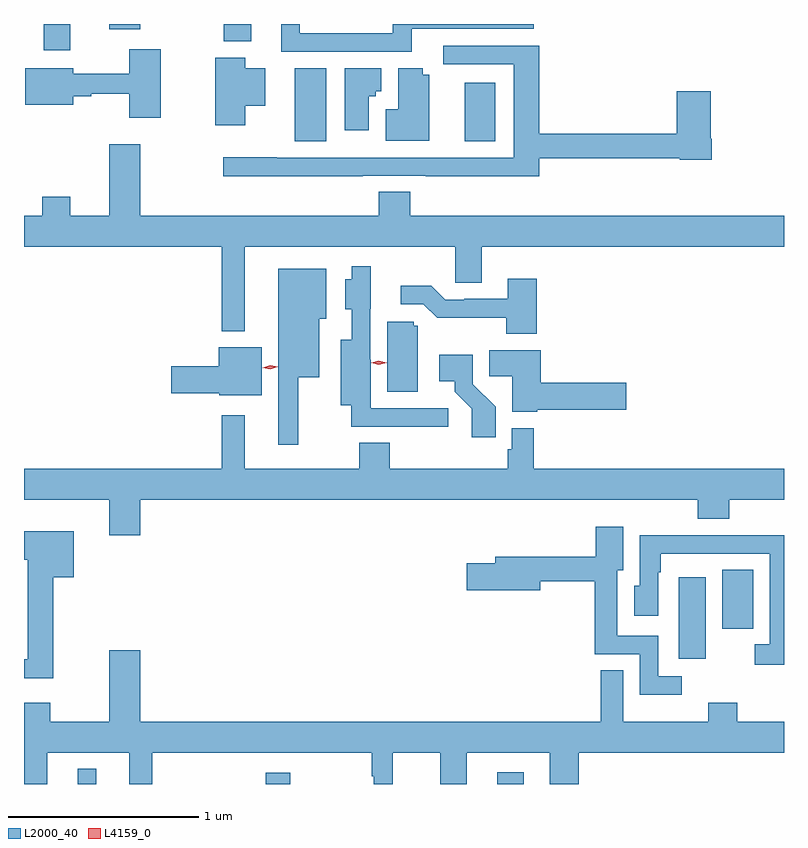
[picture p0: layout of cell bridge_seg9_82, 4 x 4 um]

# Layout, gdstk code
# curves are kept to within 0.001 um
import gdstk
lib = gdstk.Library(unit=1e-6, precision=1e-09)
def R(c, l, rs):  # rectangles x0, y0, x1, y1
    for r in rs: c.add(gdstk.rectangle(r[:2], r[2:], *l))
def P(c, l, *ps):  # polygons
    for p in ps: c.add(gdstk.Polygon(p, *l))
L2000_40 = (2000, 40)
L4159_0 = (4159, 0)

bridge_seg9_82 = lib.new_cell('bridge_seg9_82')
R(bridge_seg9_82, L2000_40, [(884.123,1244.208,884.221,1244.287), (885.112,1244.208,885.241,1244.266), (886.331,1244.208,886.471,1244.269), (887.285,1244.868,887.428,1245.295), (887.516,1245.024,887.677,1245.335), (885.266,1247.59,885.43,1247.974), (886.16,1247.59,886.321,1247.899), (883.943,1248.069,884.083,1248.208), (884.89,1248.116,885.037,1248.208), (884.288,1248.18,884.452,1248.208)])
P(bridge_seg9_82, L2000_40, [(885.88,1248.183),(886.522,1248.183),(886.522,1248.208),(885.782,1248.208),(885.782,1248.159),(885.292,1248.159),(885.292,1248.208),(885.194,1248.208),(885.194,1248.063),(885.88,1248.063)],
  [(885.623,1247.409),(885.955,1247.409),(885.955,1247.408),(886.553,1247.408),(886.553,1247.502),(887.292,1247.502),(887.292,1247.494),(887.459,1247.494),(887.459,1247.605),(887.454,1247.605),(887.454,1247.854),(887.276,1247.854),(887.276,1247.63),(886.553,1247.63),(886.553,1248.093),(886.047,1248.093),(886.047,1247.997),(886.418,1247.997),(886.418,1247.505),(885.17,1247.505),(885.17,1247.506),(884.889,1247.506),(884.889,1247.408),(885.623,1247.408)],
  [(884.56,1248.076),(884.395,1248.076),(884.395,1247.946),(884.098,1247.946),(884.098,1247.974),(883.847,1247.974),(883.847,1247.783),(884.098,1247.783),(884.098,1247.827),(884.194,1247.827),(884.194,1247.842),(884.395,1247.842),(884.395,1247.715),(884.56,1247.715)],
  [(885.004,1247.777),(885.109,1247.777),(885.109,1247.974),(885.004,1247.974),(885.004,1248.031),(884.846,1248.031),(884.846,1247.676),(885.004,1247.676)],
  [(885.973,1247.941),(885.939,1247.941),(885.939,1247.974),(885.809,1247.974),(885.809,1247.76),(885.744,1247.76),(885.744,1247.594),(885.973,1247.594)],
  [(885.655,1247.827),(885.69,1247.827),(885.69,1247.855),(885.721,1247.855),(885.721,1247.974),(885.527,1247.974),(885.527,1247.649),(885.655,1247.649)],
  [(885.001,1247.036),(886.11,1247.036),(886.11,1246.846),(886.249,1246.846),(886.249,1247.036),(887.84,1247.036),(887.84,1247.2),(885.872,1247.2),(885.872,1247.324),(885.707,1247.324),(885.707,1247.2),(884.452,1247.2),(884.452,1247.575),(884.288,1247.575),(884.288,1247.2),(884.083,1247.2),(884.083,1247.299),(883.936,1247.299),(883.936,1247.2),(883.84,1247.2),(883.84,1247.036),(884.88,1247.036),(884.88,1246.592),(885.001,1246.592)],
  [(886.072,1246.185),(885.664,1246.185),(885.664,1246.442),(885.663,1246.442),(885.663,1246.71),(885.664,1246.71),(885.664,1246.933),(885.566,1246.933),(885.566,1246.864),(885.53,1246.864),(885.53,1246.706),(885.566,1246.706),(885.566,1246.546),(885.506,1246.546),(885.506,1246.202),(885.562,1246.202),(885.562,1246.089),(885.847,1246.089),(885.847,1246.087),(886.072,1246.087)],
  [(885.283,1246.349),(885.394,1246.349),(885.394,1246.658),(885.43,1246.658),(885.43,1246.921),(885.179,1246.921),(885.179,1245.993),(885.283,1245.993)],
  [(886.538,1246.867),(886.385,1246.867),(886.385,1246.761),(886.156,1246.761),(886.156,1246.758),(886.056,1246.758),(885.983,1246.831),(885.822,1246.831),(885.822,1246.734),(885.942,1246.734),(886.015,1246.661),(886.378,1246.662),(886.378,1246.577),(886.538,1246.577)],
  [(885.913,1246.62),(885.891,1246.62),(885.891,1246.641),(885.752,1246.641),(885.752,1246.272),(885.913,1246.272)],
  [(885.091,1246.507),(884.864,1246.507),(884.864,1246.406),(884.616,1246.406),(884.616,1246.264),(884.868,1246.264),(884.868,1246.253),(885.091,1246.253)],
  [(886.542,1246.177),(887.011,1246.177),(887.011,1246.319),(886.559,1246.319),(886.559,1246.492),(886.288,1246.492),(886.288,1246.354),(886.409,1246.354),(886.409,1246.166),(886.542,1246.166)],
  [(886.322,1246.194),(886.203,1246.313),(886.203,1246.468),(886.026,1246.468),(886.026,1246.328),(886.106,1246.328),(886.106,1246.273),(886.197,1246.183),(886.197,1246.032),(886.322,1246.032)],
  [(884.452,1245.704),(887.387,1245.704),(887.387,1245.605),(887.552,1245.605),(887.552,1245.704),(887.84,1245.704),(887.84,1245.868),(886.523,1245.868),(886.523,1246.081),(886.407,1246.081),(886.407,1245.969),(886.387,1245.969),(886.387,1245.868),(885.764,1245.868),(885.764,1246.004),(885.604,1246.004),(885.604,1245.868),(885.001,1245.868),(885.001,1246.15),(884.88,1246.15),(884.88,1245.868),(883.84,1245.868),(883.84,1245.704),(884.288,1245.704),(884.288,1245.516),(884.452,1245.516)],
  [(887.302,1244.775),(887.178,1244.775),(887.178,1244.988),(886.963,1244.988),(886.963,1245.333),(886.993,1245.333),(886.993,1245.562),(886.85,1245.562),(886.85,1245.403),(886.319,1245.403),(886.319,1245.369),(886.17,1245.369),(886.17,1245.227),(886.558,1245.227),(886.558,1245.274),(886.845,1245.274),(886.845,1244.892),(887.082,1244.892),(887.082,1244.678),(887.302,1244.678)],
  [(883.994,1245.296),(884.101,1245.296),(884.101,1245.538),(883.84,1245.538),(883.84,1245.389),(883.859,1245.389),(883.859,1244.865),(883.84,1244.865),(883.84,1244.765),(883.994,1244.765)],
  [(887.84,1245.518),(887.669,1245.518),(887.669,1245.516),(887.303,1245.516),(887.303,1245.518),(887.082,1245.518),(887.082,1245.252),(887.051,1245.252),(887.051,1245.093),(887.178,1245.093),(887.178,1245.323),(887.191,1245.323),(887.191,1245.42),(887.766,1245.42),(887.766,1244.943),(887.685,1244.943),(887.685,1244.835),(887.84,1244.835)],
  [(884.452,1244.911),(884.288,1244.911),(884.288,1244.536),(883.977,1244.536),(883.977,1244.635),(883.84,1244.635),(883.84,1244.208),(883.963,1244.208),(883.963,1244.372),(884.393,1244.372),(884.393,1244.208),(884.516,1244.208),(884.516,1244.372),(885.669,1244.372),(885.669,1244.249),(885.68,1244.249),(885.68,1244.208),(885.78,1244.208),(885.78,1244.372),(886.031,1244.372),(886.031,1244.208),(886.171,1244.208),(886.171,1244.372),(886.607,1244.372),(886.607,1244.208),(886.76,1244.208),(886.76,1244.372),(887.84,1244.372),(887.84,1244.536),(887.595,1244.536),(887.595,1244.635),(887.44,1244.635),(887.44,1244.536),(886.993,1244.536),(886.993,1244.807),(886.875,1244.807),(886.875,1244.536),(884.452,1244.536)])
P(bridge_seg9_82, L4159_0, [(885.708,1246.415),(885.667,1246.424),(885.667,1246.424),(885.667,1246.424),(885.708,1246.435),(885.749,1246.426),(885.749,1246.426),(885.749,1246.425)],
  [(885.136,1246.392),(885.096,1246.4),(885.096,1246.4),(885.096,1246.4),(885.135,1246.412),(885.176,1246.404),(885.176,1246.404),(885.176,1246.404)])

lib.write_gds('bridge_seg9_82.gds')
